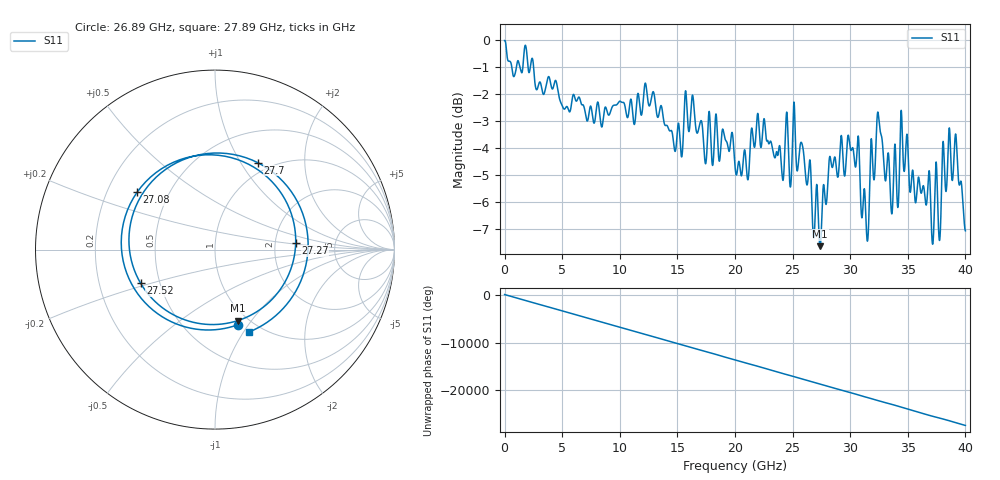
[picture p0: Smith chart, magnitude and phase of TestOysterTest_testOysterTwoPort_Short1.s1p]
! File created by SignalIntegrity v1.1.1: Signal and Power Integrity Tools
! https://github.com/TeledyneLeCroy/SignalIntegrity
# MHz MA S R 50.0
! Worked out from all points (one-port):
!   8000 points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, 5 MHz to 40 GHz, reference 50 ohm
!   lowest |S11| = -7.6 dB at 27.39 GHz (marker M1), VSWR 2.42, Z = 45.1 - j43.1 ohm
!   |S11| at or under -10 dB: nowhere
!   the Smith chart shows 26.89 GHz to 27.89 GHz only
!   S11 on the Smith chart (normalised r, x): 26.89 GHz: 0.86, -0.89; 27.08 GHz: 0.33, +0.30; 27.27 GHz: 2.62, +0.24; 27.52 GHz: 0.39, -0.18; 27.7 GHz: 0.87, +1.19; 27.89 GHz: 0.87, -1.06
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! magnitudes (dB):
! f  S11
! 5 MHz  0.0
! 5.005 GHz  -2.4
! 10.01 GHz  -2.3
! 15.01 GHz  -3.4
! 16.34 GHz  -2.0
! 17.41 GHz  -4.5
! 20 GHz  -4.7
! 21.11 GHz  -5.2
! 21.96 GHz  -2.7
! 24.12 GHz  -5.1
! 25 GHz  -3.6
! 25.84 GHz  -3.9
! 26.89 GHz  -7.2
! 27.08 GHz  -5.4
! 27.27 GHz  -6.9
! 27.39 GHz  -7.6
! 27.52 GHz  -6.8
! 27.7 GHz  -5.4
! 27.89 GHz  -6.1
! 30 GHz  -4.0
! 31.48 GHz  -7.4
! 32.45 GHz  -2.8
! 33.59 GHz  -6.4
! 34.45 GHz  -2.7
! 35.01 GHz  -3.9
! 37.16 GHz  -7.6
! 39.16 GHz  -3.5
! 40 GHz  -7.1
